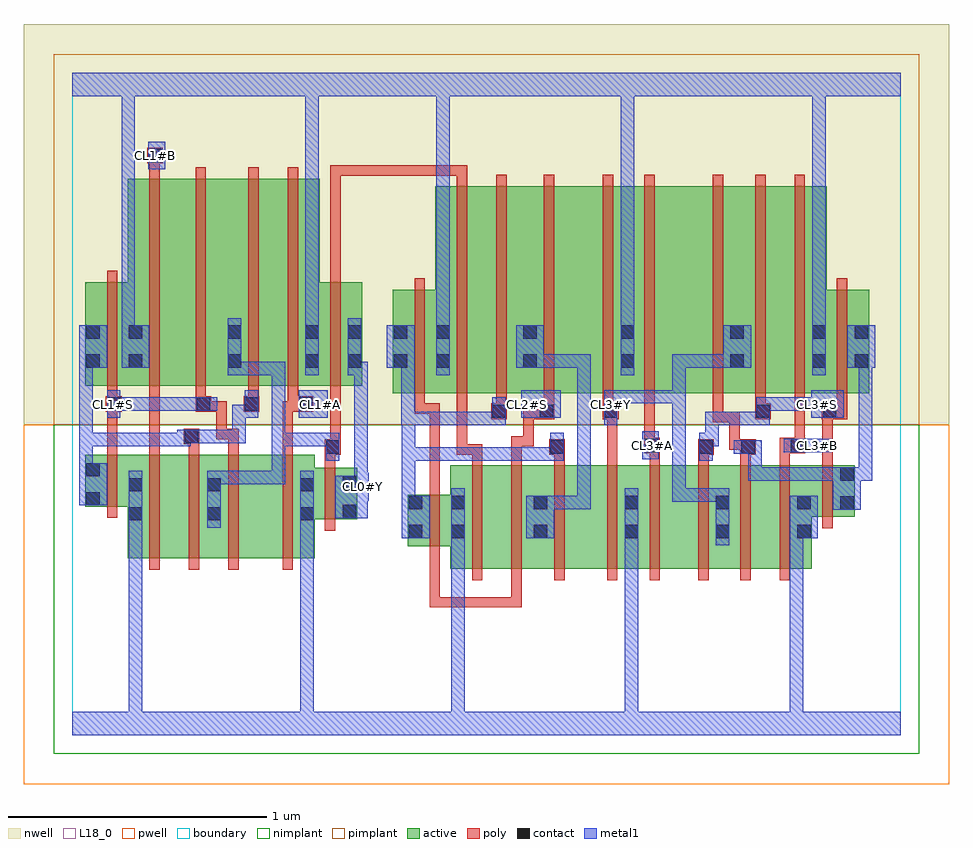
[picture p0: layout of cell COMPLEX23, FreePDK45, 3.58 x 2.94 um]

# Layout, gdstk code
import gdstk
lib = gdstk.Library(unit=1e-6, precision=1e-09)
def R(c, l, rs):  # rectangles x0, y0, x1, y1
    for r in rs: c.add(gdstk.rectangle(r[:2], r[2:], *l))
def A(c, l, x, y, w, h, nx, ny, dx, dy):  # array of equal rectangles
    R(c, l, [(x+i*dx, y+j*dy, x+i*dx+w, y+j*dy+h) for i in range(nx) for j in range(ny)])
active = (1, 0)
pwell = (2, 0)
nwell = (3, 0)
nimplant = (4, 0)
pimplant = (5, 0)
poly = (9, 0)
contact = (10, 0)
metal1 = (11, 0)
L18_0 = (18, 0)
boundary = (235, 0)

complex23 = lib.new_cell('COMPLEX23')
A(complex23, active, 1.778, 0.756, 0.06, 0.174, 3, 1, 0.352, 0)
R(complex23, active, [(1.46,0.644,1.52,0.93), (1.46,0.644,1.64,1.044), (1.64,0.644,1.838,1.044), (1.778,0.644,2.01,1.044), (2.01,0.644,2.19,1.044), (2.13,0.644,2.326,1.044), (2.326,0.644,2.542,1.044), (2.482,0.644,2.676,1.044), (2.676,0.644,2.856,1.044), (2.796,0.644,2.856,0.93), (0.214,0.684,0.394,1.084), (0.214,0.684,0.274,0.998), (0.394,0.684,0.578,1.084), (0.518,0.684,0.756,1.084), (0.756,0.684,0.936,1.084), (0.876,0.684,0.936,0.998), (1.296,0.73,1.52,0.93), (0.518,0.756,0.578,0.998), (1.296,0.758,1.356,0.93), (0.876,0.834,1.1,1.034), (1.04,0.834,1.1,1.034), (2.796,0.844,3.022,1.044), (2.962,0.844,3.022,1.044), (0.05,0.884,0.11,1.084), (0.05,0.884,0.274,1.084), (1.238,1.322,1.298,1.644), (1.238,1.322,1.462,1.722), (1.402,1.322,1.462,1.644), (1.402,1.322,1.582,2.122), (1.582,1.322,1.798,2.122), (1.738,1.322,1.918,2.122), (1.738,1.322,1.798,2.044), (1.918,1.322,2.174,2.122), (2.114,1.322,2.31,2.122), (2.114,1.322,2.174,2.044), (2.31,1.322,2.598,2.122), (2.538,1.322,2.734,2.122), (2.538,1.322,2.598,2.044), (2.734,1.322,2.914,2.122), (2.854,1.322,2.914,1.644), (2.854,1.322,3.078,1.722), (3.018,1.322,3.078,1.644), (0.05,1.35,0.274,1.75), (0.05,1.35,0.11,1.644), (0.214,1.35,0.274,1.644), (0.214,1.35,0.42,2.15), (0.42,1.35,0.656,2.15), (0.596,1.35,0.776,2.15), (0.596,1.35,0.656,2.044), (0.776,1.35,0.956,2.15), (0.896,1.35,1.12,1.75), (0.896,1.35,0.956,1.644), (1.06,1.35,1.12,1.75)])
R(complex23, pwell, [(-0.188,-0.188,3.388,1.2)])
R(complex23, nwell, [(-0.188,1.2,3.388,2.748)])
R(complex23, nimplant, [(-0.072,-0.072,3.272,1.2)])
R(complex23, pimplant, [(-0.072,1.2,3.272,2.632)])
A(complex23, poly, 0.298, 0.64, 0.04, 0.488, 3, 1, 0.152, 0)
R(complex23, poly, [(1.38,0.494,1.42,0.534), (1.38,0.494,1.42,0.534), (1.38,0.494,1.42,0.534), (1.38,0.494,1.42,0.534), (1.38,0.494,1.42,0.534), (1.38,0.494,1.42,0.534), (1.38,0.494,1.42,0.534), (1.38,0.494,1.552,0.534), (1.38,0.494,1.42,0.726), (1.512,0.494,1.552,0.534), (1.512,0.494,1.632,0.534), (1.592,0.494,1.632,0.534), (1.592,0.494,1.736,0.534), (1.696,0.494,1.736,0.534), (1.696,0.494,1.736,0.64), (1.544,0.6,1.584,1.088), (1.696,0.6,1.736,1.088), (1.862,0.6,1.902,1.088), (2.066,0.6,2.106,1.088), (2.23,0.6,2.27,1.088), (2.418,0.6,2.458,1.088), (2.58,0.6,2.62,1.088), (2.732,0.6,2.772,1.088), (0.812,0.64,0.852,1.128), (1.38,0.686,1.42,0.974), (0.976,0.79,1.016,1.078), (2.898,0.8,2.938,1.088), (0.134,0.84,0.174,1.128), (1.38,0.934,1.42,1.282), (0.976,1.038,1.016,1.124), (1.544,1.048,1.584,1.124), (1.696,1.048,1.736,1.156), (1.862,1.048,1.902,1.124), (2.066,1.048,2.106,1.262), (2.23,1.048,2.27,1.13), (2.418,1.048,2.458,1.124), (2.58,1.048,2.62,1.124), (2.732,1.048,2.772,1.13), (2.898,1.048,2.938,1.262), (0.976,1.084,1.036,1.144), (1.486,1.084,1.526,1.124), (1.486,1.084,1.526,1.124), (1.486,1.084,1.526,1.318), (1.486,1.084,1.584,1.124), (1.842,1.084,1.902,1.144), (2.418,1.084,2.478,1.144), (2.58,1.084,2.64,1.144), (0.134,1.088,0.174,1.29), (0.298,1.088,0.338,1.31), (0.45,1.088,0.49,1.164), (0.602,1.088,0.642,1.184), (0.812,1.088,0.852,1.29), (2.21,1.09,2.27,1.15), (2.732,1.09,2.832,1.15), (0.996,1.104,1.036,1.144), (0.996,1.104,1.036,1.144), (0.996,1.104,1.036,1.346), (2.538,1.104,2.578,1.144), (2.538,1.104,2.62,1.144), (2.538,1.104,2.578,1.25), (2.21,1.11,2.25,1.15), (2.21,1.11,2.25,1.15), (2.21,1.11,2.25,1.318), (2.79,1.11,2.83,1.15), (2.79,1.11,2.83,1.15), (2.79,1.11,2.83,1.318), (1.696,1.116,1.736,1.156), (1.696,1.116,1.782,1.156), (1.742,1.116,1.782,1.156), (1.742,1.116,1.782,1.262), (0.43,1.124,0.49,1.184), (0.556,1.144,0.596,1.184), (0.556,1.144,0.596,1.29), (0.556,1.144,0.642,1.184), (0.602,1.144,0.642,1.184), (2.474,1.21,2.514,1.25), (2.474,1.21,2.578,1.25), (2.474,1.21,2.514,1.318), (2.538,1.21,2.578,1.25), (1.618,1.222,1.678,1.282), (1.742,1.222,1.782,1.262), (1.742,1.222,1.842,1.262), (1.802,1.222,1.862,1.282), (2.05,1.222,2.11,1.282), (2.066,1.222,2.106,1.262), (2.066,1.222,2.106,1.262), (2.638,1.222,2.698,1.282), (2.896,1.222,2.994,1.282), (2.898,1.222,2.938,1.262), (2.898,1.222,2.938,1.262), (1.322,1.242,1.362,1.318), (1.322,1.242,1.362,1.282), (1.322,1.242,1.362,1.282), (1.322,1.242,1.42,1.282), (1.638,1.242,1.678,1.318), (1.822,1.242,1.862,1.318), (2.05,1.242,2.09,1.318), (2.638,1.242,2.678,1.318), (2.954,1.242,2.994,1.318), (0.13,1.25,0.19,1.31), (0.134,1.25,0.174,1.29), (0.134,1.25,0.174,1.29), (0.476,1.25,0.536,1.31), (0.496,1.25,0.596,1.29), (0.556,1.25,0.596,1.29), (0.662,1.25,0.722,1.31), (0.812,1.25,0.872,1.29), (0.832,1.25,0.872,1.29), (0.832,1.25,0.93,1.31), (0.134,1.27,0.174,1.346), (0.298,1.27,0.338,1.346), (0.298,1.27,0.338,1.31), (0.298,1.27,0.338,1.31), (0.298,1.27,0.338,1.31), (0.476,1.27,0.516,1.346), (0.68,1.27,0.72,1.346), (0.832,1.27,0.872,1.346), (1.322,1.278,1.362,1.766), (1.486,1.278,1.526,2.166), (1.638,1.278,1.678,2.166), (1.822,1.278,1.862,2.166), (2.05,1.278,2.09,2.166), (2.21,1.278,2.25,2.166), (2.474,1.278,2.514,2.166), (2.638,1.278,2.678,2.166), (2.79,1.278,2.83,2.166), (2.954,1.278,2.994,1.766), (0.134,1.306,0.174,1.794), (0.298,1.306,0.338,2.194), (0.476,1.306,0.516,2.194), (0.68,1.306,0.72,2.194), (0.832,1.306,0.872,2.194), (0.996,1.306,1.036,1.794), (0.996,1.754,1.036,2.202), (1.486,2.126,1.526,2.202), (0.298,2.154,0.338,2.25), (0.996,2.162,1.036,2.202), (0.996,2.162,1.036,2.202), (0.996,2.162,1.036,2.202), (0.996,2.162,1.036,2.202), (0.996,2.162,1.036,2.202), (0.996,2.162,1.036,2.202), (0.996,2.162,1.036,2.202), (0.996,2.162,1.036,2.202), (0.996,2.162,1.036,2.202), (0.996,2.162,1.036,2.202), (0.996,2.162,1.036,2.202), (0.996,2.162,1.256,2.202), (1.216,2.162,1.256,2.202), (1.216,2.162,1.256,2.202), (1.216,2.162,1.256,2.202), (1.216,2.162,1.526,2.202), (1.486,2.162,1.526,2.202), (1.486,2.162,1.526,2.202), (1.486,2.162,1.526,2.202), (0.29,2.21,0.35,2.27)])
A(complex23, contact, 1.782, 0.762, 0.052, 0.052, 3, 2, 0.352, 0.112)
R(complex23, contact, [(1.3,0.762,1.352,0.814), (1.464,0.762,1.516,0.814), (2.8,0.762,2.852,0.814), (0.218,0.83,0.27,0.882), (0.522,0.83,0.574,0.882), (0.88,0.83,0.932,0.882), (1.044,0.838,1.096,0.89), (2.966,0.872,3.018,0.924), (1.3,0.874,1.352,0.926), (1.464,0.874,1.516,0.926), (2.8,0.874,2.852,0.926), (0.054,0.888,0.106,0.94), (0.218,0.942,0.27,0.994), (0.522,0.942,0.574,0.994), (0.88,0.942,0.932,0.994), (1.044,0.95,1.096,1.002), (2.966,0.984,3.018,1.036), (0.054,1,0.106,1.052), (0.98,1.088,1.032,1.14), (1.846,1.088,1.898,1.14), (2.422,1.088,2.474,1.14), (2.584,1.088,2.636,1.14), (2.214,1.094,2.266,1.146), (2.776,1.094,2.828,1.146), (0.434,1.128,0.486,1.18), (1.622,1.226,1.674,1.278), (1.806,1.226,1.858,1.278), (2.054,1.226,2.106,1.278), (2.642,1.226,2.694,1.278), (2.9,1.226,2.952,1.278), (0.134,1.254,0.186,1.306), (0.48,1.254,0.532,1.306), (0.666,1.254,0.718,1.306), (0.874,1.254,0.926,1.306), (0.054,1.42,0.106,1.472), (0.218,1.42,0.27,1.472), (0.6,1.42,0.652,1.472), (0.9,1.42,0.952,1.472), (1.064,1.42,1.116,1.472), (1.242,1.42,1.294,1.472), (1.406,1.42,1.458,1.472), (1.742,1.42,1.794,1.472), (2.118,1.42,2.17,1.472), (2.542,1.42,2.594,1.472), (2.858,1.42,2.91,1.472), (3.022,1.42,3.074,1.472), (0.054,1.532,0.106,1.584), (0.218,1.532,0.27,1.584), (0.6,1.532,0.652,1.584), (0.9,1.532,0.952,1.584), (1.064,1.532,1.116,1.584), (1.242,1.532,1.294,1.584), (1.406,1.532,1.458,1.584), (1.742,1.532,1.794,1.584), (2.118,1.532,2.17,1.584), (2.542,1.532,2.594,1.584), (2.858,1.532,2.91,1.584), (3.022,1.532,3.074,1.584), (0.294,2.214,0.346,2.266)])
A(complex23, metal1, 1.272, 1.06, 0.052, 0.052, 3, 1, 0.11, 0)
A(complex23, metal1, 1.272, 1.06, 0.162, 0.052, 3, 1, 0.11, 0)
R(complex23, metal1, [(0,0,3.2,0.092), (0.218,0.04,0.27,0.092), (0.218,0.04,0.27,0.092), (0.218,0.04,0.27,0.092), (0.218,0.04,0.27,0.092), (0.218,0.04,0.27,0.092), (0.218,0.04,0.27,0.092), (0.218,0.04,0.27,0.092), (0.218,0.04,0.27,0.092), (0.218,0.04,0.27,0.092), (0.218,0.04,0.27,0.092), (0.218,0.04,0.27,0.092), (0.218,0.04,0.27,0.092), (0.218,0.04,0.27,0.854), (0.88,0.04,0.932,0.092), (0.88,0.04,0.932,0.092), (0.88,0.04,0.932,0.092), (0.88,0.04,0.932,0.092), (0.88,0.04,0.932,0.092), (0.88,0.04,0.932,0.092), (0.88,0.04,0.932,0.854), (1.464,0.04,1.516,0.092), (1.464,0.04,1.516,0.092), (1.464,0.04,1.516,0.092), (1.464,0.04,1.516,0.092), (1.464,0.04,1.516,0.092), (1.464,0.04,1.516,0.092), (1.464,0.04,1.516,0.092), (1.464,0.04,1.516,0.092), (1.464,0.04,1.516,0.092), (1.464,0.04,1.516,0.092), (1.464,0.04,1.516,0.786), (2.134,0.04,2.186,0.092), (2.134,0.04,2.186,0.092), (2.134,0.04,2.186,0.092), (2.134,0.04,2.186,0.092), (2.134,0.04,2.186,0.092), (2.134,0.04,2.186,0.092), (2.134,0.04,2.186,0.092), (2.134,0.04,2.186,0.092), (2.134,0.04,2.186,0.092), (2.134,0.04,2.186,0.092), (2.134,0.04,2.186,0.092), (2.134,0.04,2.186,0.092), (2.134,0.04,2.186,0.786), (2.772,0.04,2.824,0.092), (2.772,0.04,2.824,0.092), (2.772,0.04,2.824,0.092), (2.772,0.04,2.824,0.092), (2.772,0.04,2.824,0.092), (2.772,0.04,2.824,0.092), (2.772,0.04,2.824,0.092), (2.772,0.04,2.824,0.092), (2.772,0.04,2.824,0.092), (2.772,0.04,2.824,0.092), (2.772,0.04,2.824,0.092), (2.772,0.04,2.824,0.092), (2.772,0.04,2.824,0.814), (1.464,0.734,1.516,0.786), (1.464,0.734,1.516,0.786), (1.464,0.734,1.516,0.954), (2.134,0.734,2.186,0.954), (2.486,0.734,2.538,0.954), (1.272,0.762,1.38,0.926), (1.754,0.762,1.862,0.926), (2.772,0.762,2.88,0.926), (0.218,0.802,0.27,1.022), (0.522,0.802,0.574,1.022), (0.88,0.802,0.932,0.854), (0.88,0.802,0.932,0.854), (0.88,0.802,0.932,0.854), (0.88,0.802,0.932,0.854), (0.88,0.802,0.932,0.854), (0.88,0.802,0.932,0.854), (0.88,0.802,0.932,1.022), (1.016,0.838,1.142,1.002), (2.938,0.872,3.046,1.036), (1.272,0.874,1.324,1.112), (1.81,0.874,1.862,0.926), (1.81,0.874,1.862,0.926), (1.81,0.874,2.002,0.926), (1.95,0.874,2.002,0.926), (1.95,0.874,2.002,0.926), (1.95,0.874,2.002,0.926), (1.95,0.874,2.002,1.472), (0.026,0.888,0.134,1.052), (2.318,0.902,2.37,0.954), (2.318,0.902,2.376,0.954), (2.318,0.902,2.37,1.334), (2.324,0.902,2.376,0.954), (2.324,0.902,2.538,0.954), (1.09,0.906,1.146,1.014), (1.09,0.95,1.142,1.002), (1.09,0.962,1.142,1.444), (0.522,0.97,0.812,1.022), (0.76,0.97,0.812,1.022), (0.76,0.97,0.822,1.022), (0.77,0.97,0.822,1.022), (0.77,0.97,0.822,1.168), (2.612,0.984,2.664,1.036), (2.612,0.984,2.8,1.036), (2.612,0.984,2.664,1.14), (2.748,0.984,2.8,1.036), (2.748,0.984,2.804,1.036), (2.752,0.984,2.804,1.036), (2.752,0.984,2.99,1.036), (2.938,0.984,2.99,1.036), (2.938,0.984,2.99,1.036), (2.994,0.984,3.046,1.036), (2.994,0.984,3.09,1.036), (3.038,0.984,3.09,1.472), (3.038,0.984,3.09,1.036), (3.038,0.984,3.09,1.036), (0.026,1,0.078,1.168), (0.98,1.06,1.032,1.168), (1.272,1.06,1.324,1.112), (1.272,1.06,1.324,1.112), (1.272,1.06,1.324,1.25), (1.492,1.06,1.544,1.112), (1.492,1.06,1.544,1.112), (1.602,1.06,1.654,1.112), (1.602,1.06,1.654,1.112), (1.602,1.06,1.654,1.112), (1.602,1.06,1.898,1.112), (1.846,1.06,1.898,1.168), (2.422,1.06,2.474,1.168), (2.202,1.066,2.266,1.174), (2.556,1.088,2.664,1.14), (2.612,1.088,2.664,1.14), (2.612,1.088,2.664,1.14), (2.748,1.094,2.934,1.146), (0.026,1.116,0.078,1.168), (0.026,1.116,0.078,1.168), (0.026,1.116,0.078,1.168), (0.026,1.116,0.296,1.168), (0.026,1.116,0.078,1.472), (0.244,1.116,0.296,1.168), (0.244,1.116,0.296,1.168), (0.244,1.116,0.296,1.168), (0.244,1.116,0.458,1.168), (0.406,1.116,0.458,1.18), (0.77,1.116,0.822,1.168), (0.77,1.116,0.822,1.168), (0.77,1.116,0.822,1.168), (0.77,1.116,0.922,1.168), (0.77,1.116,0.822,1.444), (0.87,1.116,0.922,1.168), (0.87,1.116,0.958,1.168), (0.906,1.116,0.958,1.168), (0.906,1.116,1.032,1.168), (2.422,1.116,2.498,1.168), (2.446,1.116,2.498,1.168), (2.446,1.116,2.498,1.25), (0.406,1.128,0.458,1.18), (0.406,1.128,0.514,1.18), (0.462,1.128,0.67,1.18), (0.618,1.128,0.67,1.18), (0.618,1.128,0.67,1.278), (1.27,1.198,1.322,1.472), (1.27,1.198,1.324,1.25), (1.272,1.198,1.434,1.25), (1.382,1.198,1.434,1.25), (1.382,1.198,1.434,1.25), (1.382,1.198,1.434,1.25), (1.382,1.198,1.544,1.25), (1.492,1.198,1.544,1.25), (1.492,1.198,1.544,1.25), (1.492,1.198,1.544,1.25), (1.492,1.198,1.674,1.25), (1.622,1.198,1.674,1.306), (2.054,1.198,2.106,1.334), (2.446,1.198,2.498,1.25), (2.446,1.198,2.694,1.25), (2.642,1.198,2.694,1.306), (0.134,1.226,0.186,1.334), (0.618,1.226,0.67,1.278), (0.618,1.226,0.718,1.278), (0.666,1.226,0.718,1.334), (0.874,1.226,0.986,1.334), (1.734,1.226,1.886,1.334), (2.854,1.226,2.98,1.334), (0.134,1.254,0.296,1.306), (0.244,1.254,0.296,1.306), (0.244,1.254,0.296,1.306), (0.244,1.254,0.296,1.306), (0.244,1.254,0.406,1.306), (0.354,1.254,0.406,1.306), (0.354,1.254,0.504,1.306), (0.452,1.254,0.56,1.306), (2.642,1.254,2.694,1.306), (2.642,1.254,2.694,1.306), (2.642,1.254,2.8,1.306), (2.748,1.254,2.8,1.306), (2.748,1.254,2.88,1.306), (2.828,1.254,2.88,1.306), (2.828,1.254,2.906,1.306), (2.054,1.282,2.216,1.334), (2.164,1.282,2.216,1.334), (2.164,1.282,2.216,1.334), (2.164,1.282,2.216,1.334), (2.164,1.282,2.37,1.334), (2.318,1.282,2.37,1.334), (2.318,1.282,2.37,1.334), (2.318,1.282,2.37,1.334), (2.318,1.282,2.37,1.472), (0.6,1.392,0.652,1.612), (0.6,1.392,0.812,1.444), (0.76,1.392,0.812,1.444), (0.76,1.392,0.822,1.444), (0.77,1.392,0.822,1.444), (0.9,1.392,0.952,1.612), (1.064,1.392,1.116,1.444), (1.064,1.392,1.142,1.444), (1.064,1.392,1.116,1.612), (1.406,1.392,1.458,1.612), (2.118,1.392,2.17,1.612), (2.858,1.392,2.91,1.612), (0.026,1.42,0.134,1.584), (0.026,1.42,0.078,1.472), (0.026,1.42,0.078,1.472), (0.19,1.42,0.298,1.584), (1.214,1.42,1.322,1.584), (1.714,1.42,1.822,1.584), (1.77,1.42,1.822,1.472), (1.77,1.42,1.822,1.472), (1.77,1.42,2.002,1.472), (1.95,1.42,2.002,1.472), (1.95,1.42,2.002,1.472), (1.95,1.42,2.002,1.472), (2.318,1.42,2.37,1.472), (2.318,1.42,2.376,1.472), (2.324,1.42,2.376,1.472), (2.324,1.42,2.566,1.472), (2.514,1.42,2.622,1.584), (2.994,1.42,3.102,1.584), (0.19,1.532,0.242,2.52), (0.9,1.56,0.952,2.52), (1.406,1.56,1.458,2.52), (2.118,1.56,2.17,1.612), (2.118,1.56,2.17,1.612), (2.118,1.56,2.17,1.612), (2.118,1.56,2.17,1.612), (2.118,1.56,2.17,1.612), (2.118,1.56,2.17,1.612), (2.118,1.56,2.17,1.612), (2.118,1.56,2.17,1.612), (2.118,1.56,2.17,2.52), (2.858,1.56,2.91,1.612), (2.858,1.56,2.91,1.612), (2.858,1.56,2.91,1.612), (2.858,1.56,2.91,1.612), (2.858,1.56,2.91,1.612), (2.858,1.56,2.91,1.612), (2.858,1.56,2.91,1.612), (2.858,1.56,2.91,1.612), (2.858,1.56,2.91,2.52), (0.294,2.186,0.358,2.294), (0,2.468,3.2,2.56), (0.184,2.468,0.236,2.52), (0.184,2.468,0.236,2.52), (0.184,2.468,0.236,2.52), (0.184,2.468,0.236,2.52), (0.184,2.468,0.236,2.52), (0.184,2.468,0.242,2.52), (0.19,2.468,0.242,2.52), (0.19,2.468,0.242,2.52), (0.9,2.468,0.952,2.52), (0.9,2.468,0.952,2.52), (0.9,2.468,0.952,2.52), (0.9,2.468,0.952,2.52), (0.9,2.468,0.952,2.52), (0.9,2.468,0.952,2.52), (0.9,2.468,0.952,2.52), (0.9,2.468,0.952,2.52), (1.406,2.468,1.458,2.52), (1.406,2.468,1.458,2.52), (1.406,2.468,1.458,2.52), (1.406,2.468,1.458,2.52), (1.406,2.468,1.458,2.52), (1.406,2.468,1.458,2.52), (1.406,2.468,1.458,2.52), (1.406,2.468,1.458,2.52)])
R(complex23, L18_0, [(0,0,3.2,0.092), (0.218,0.04,0.27,0.092), (0.218,0.04,0.27,0.092), (0.218,0.04,0.27,0.092), (0.218,0.04,0.27,0.092), (0.218,0.04,0.27,0.092), (0.218,0.04,0.27,0.092), (0.218,0.04,0.27,0.092), (0.218,0.04,0.27,0.092), (0.218,0.04,0.27,0.092), (0.218,0.04,0.27,0.092), (0.218,0.04,0.27,0.092), (0.218,0.04,0.27,0.092), (0.218,0.04,0.27,0.854), (0.88,0.04,0.932,0.092), (0.88,0.04,0.932,0.092), (0.88,0.04,0.932,0.092), (0.88,0.04,0.932,0.092), (0.88,0.04,0.932,0.092), (0.88,0.04,0.932,0.092), (0.88,0.04,0.932,0.854), (1.464,0.04,1.516,0.092), (1.464,0.04,1.516,0.092), (1.464,0.04,1.516,0.092), (1.464,0.04,1.516,0.092), (1.464,0.04,1.516,0.092), (1.464,0.04,1.516,0.092), (1.464,0.04,1.516,0.092), (1.464,0.04,1.516,0.092), (1.464,0.04,1.516,0.092), (1.464,0.04,1.516,0.092), (1.464,0.04,1.516,0.786), (2.134,0.04,2.186,0.092), (2.134,0.04,2.186,0.092), (2.134,0.04,2.186,0.092), (2.134,0.04,2.186,0.092), (2.134,0.04,2.186,0.092), (2.134,0.04,2.186,0.092), (2.134,0.04,2.186,0.092), (2.134,0.04,2.186,0.092), (2.134,0.04,2.186,0.092), (2.134,0.04,2.186,0.092), (2.134,0.04,2.186,0.092), (2.134,0.04,2.186,0.092), (2.134,0.04,2.186,0.786), (2.772,0.04,2.824,0.092), (2.772,0.04,2.824,0.092), (2.772,0.04,2.824,0.092), (2.772,0.04,2.824,0.092), (2.772,0.04,2.824,0.092), (2.772,0.04,2.824,0.092), (2.772,0.04,2.824,0.092), (2.772,0.04,2.824,0.092), (2.772,0.04,2.824,0.092), (2.772,0.04,2.824,0.092), (2.772,0.04,2.824,0.092), (2.772,0.04,2.824,0.092), (2.772,0.04,2.824,0.814), (1.464,0.734,1.516,0.786), (1.464,0.734,1.516,0.786), (1.464,0.734,1.516,0.954), (2.134,0.734,2.186,0.954), (2.486,0.734,2.538,0.954), (2.772,0.762,2.88,0.926), (0.218,0.802,0.27,1.022), (0.88,0.802,0.932,0.854), (0.88,0.802,0.932,0.854), (0.88,0.802,0.932,0.854), (0.88,0.802,0.932,0.854), (0.88,0.802,0.932,0.854), (0.88,0.802,0.932,0.854), (0.88,0.802,0.932,1.022), (1.016,0.838,1.142,1.002), (2.318,0.902,2.37,0.954), (2.318,0.902,2.376,0.954), (2.318,0.902,2.37,1.334), (2.324,0.902,2.376,0.954), (2.324,0.902,2.538,0.954), (1.09,0.906,1.146,1.014), (1.094,0.934,1.146,0.986), (1.09,0.95,1.142,1.002), (1.09,0.962,1.142,1.444), (2.422,1.06,2.474,1.168), (2.202,1.066,2.266,1.174), (2.214,1.094,2.266,1.146), (2.748,1.094,2.934,1.146), (2.854,1.094,2.906,1.146), (2.422,1.116,2.498,1.168), (2.446,1.116,2.498,1.168), (2.446,1.116,2.498,1.25), (2.054,1.198,2.106,1.334), (2.446,1.198,2.498,1.25), (2.446,1.198,2.694,1.25), (2.642,1.198,2.694,1.306), (0.134,1.226,0.186,1.334), (0.874,1.226,0.986,1.334), (1.734,1.226,1.886,1.334), (2.854,1.226,2.98,1.334), (0.134,1.254,0.186,1.306), (0.134,1.254,0.296,1.306), (0.244,1.254,0.296,1.306), (0.244,1.254,0.296,1.306), (0.244,1.254,0.296,1.306), (0.244,1.254,0.406,1.306), (0.354,1.254,0.406,1.306), (0.354,1.254,0.504,1.306), (0.452,1.254,0.56,1.306), (0.934,1.254,0.986,1.306), (1.734,1.254,1.786,1.306), (2.054,1.254,2.106,1.306), (2.642,1.254,2.694,1.306), (2.642,1.254,2.694,1.306), (2.642,1.254,2.8,1.306), (2.748,1.254,2.8,1.306), (2.748,1.254,2.88,1.306), (2.828,1.254,2.88,1.306), (2.828,1.254,2.906,1.306), (2.854,1.254,2.906,1.306), (2.054,1.282,2.216,1.334), (2.164,1.282,2.216,1.334), (2.164,1.282,2.216,1.334), (2.164,1.282,2.216,1.334), (2.164,1.282,2.37,1.334), (2.318,1.282,2.37,1.334), (2.318,1.282,2.37,1.334), (2.318,1.282,2.37,1.334), (2.318,1.282,2.37,1.472), (0.9,1.392,0.952,1.612), (1.064,1.392,1.116,1.444), (1.064,1.392,1.116,1.612), (1.064,1.392,1.142,1.444), (1.406,1.392,1.458,1.612), (2.118,1.392,2.17,1.612), (2.858,1.392,2.91,1.612), (0.19,1.42,0.298,1.584), (2.318,1.42,2.37,1.472), (2.318,1.42,2.376,1.472), (2.324,1.42,2.376,1.472), (2.324,1.42,2.566,1.472), (2.514,1.42,2.622,1.584), (0.19,1.532,0.242,2.52), (0.9,1.56,0.952,2.52), (1.406,1.56,1.458,2.52), (2.118,1.56,2.17,1.612), (2.118,1.56,2.17,1.612), (2.118,1.56,2.17,1.612), (2.118,1.56,2.17,1.612), (2.118,1.56,2.17,1.612), (2.118,1.56,2.17,1.612), (2.118,1.56,2.17,1.612), (2.118,1.56,2.17,1.612), (2.118,1.56,2.17,2.52), (2.858,1.56,2.91,1.612), (2.858,1.56,2.91,1.612), (2.858,1.56,2.91,1.612), (2.858,1.56,2.91,1.612), (2.858,1.56,2.91,1.612), (2.858,1.56,2.91,1.612), (2.858,1.56,2.91,1.612), (2.858,1.56,2.91,1.612), (2.858,1.56,2.91,2.52), (0.294,2.186,0.358,2.294), (0.294,2.214,0.346,2.266), (0,2.468,3.2,2.56), (0.184,2.468,0.236,2.52), (0.184,2.468,0.236,2.52), (0.184,2.468,0.236,2.52), (0.184,2.468,0.236,2.52), (0.184,2.468,0.236,2.52), (0.184,2.468,0.242,2.52), (0.19,2.468,0.242,2.52), (0.19,2.468,0.242,2.52), (0.9,2.468,0.952,2.52), (0.9,2.468,0.952,2.52), (0.9,2.468,0.952,2.52), (0.9,2.468,0.952,2.52), (0.9,2.468,0.952,2.52), (0.9,2.468,0.952,2.52), (0.9,2.468,0.952,2.52), (0.9,2.468,0.952,2.52), (1.406,2.468,1.458,2.52), (1.406,2.468,1.458,2.52), (1.406,2.468,1.458,2.52), (1.406,2.468,1.458,2.52), (1.406,2.468,1.458,2.52), (1.406,2.468,1.458,2.52), (1.406,2.468,1.458,2.52), (1.406,2.468,1.458,2.52)])
R(complex23, boundary, [(0,0,3.2,2.56)])
complex23.add(gdstk.Label('CL0#Y', (1.12,0.96), layer=11, texttype=0))
complex23.add(gdstk.Label('CL1#A', (0.96,1.28), layer=11, texttype=0))
complex23.add(gdstk.Label('CL1#B', (0.32,2.24), layer=11, texttype=0))
complex23.add(gdstk.Label('CL1#S', (0.16,1.28), layer=11, texttype=0))
complex23.add(gdstk.Label('CL2#S', (1.76,1.28), layer=11, texttype=0))
complex23.add(gdstk.Label('CL3#A', (2.24,1.12), layer=11, texttype=0))
complex23.add(gdstk.Label('CL3#B', (2.88,1.12), layer=11, texttype=0))
complex23.add(gdstk.Label('CL3#S', (2.88,1.28), layer=11, texttype=0))
complex23.add(gdstk.Label('CL3#Y', (2.08,1.28), layer=11, texttype=0))

lib.write_gds('COMPLEX23.gds')
